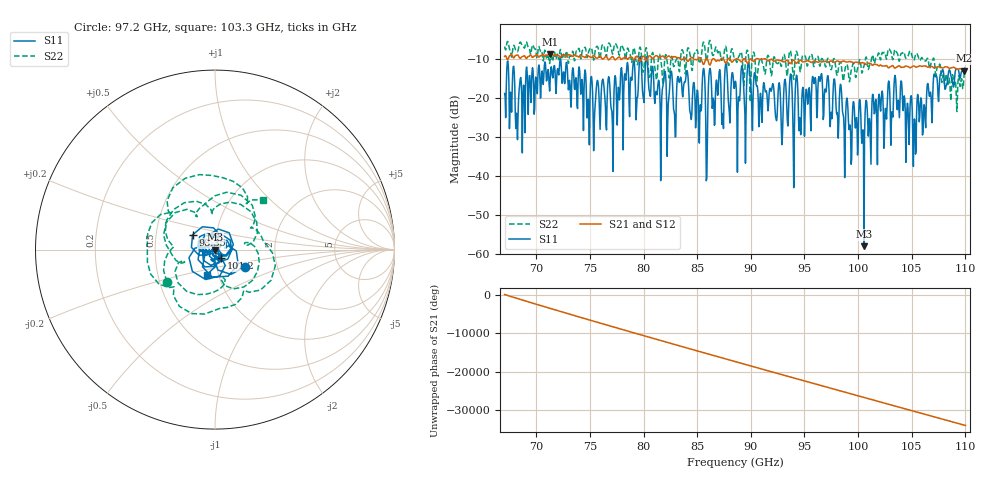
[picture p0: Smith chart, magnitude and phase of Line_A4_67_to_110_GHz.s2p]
#  HZ  S  MA  R  50.00
! Rohde & Schwarz ZVA67 4Ports - Version 4.11 - 1305.7002k04 SN: 101051
! Date: 2023-09-13 17:04:01
! Measurements: S11 S21 S12 S22
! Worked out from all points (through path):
!   860 points, 67.05 GHz to 110 GHz, reference 50 ohm
!   highest |S21| = -8.75 dB at 71.25 GHz (marker M1); lowest = -13.0 dB at 109.9 GHz (marker M2)
!   lowest |S11| = -58.0 dB at 100.5 GHz (marker M3), VSWR 1.00, Z = 49.9 + j0.0234 ohm
!   |S11| at or under -10 dB: start of sweep to 72.24 GHz; 72.26 GHz to 79.64 GHz (7.386 GHz wide, 9.72 % of centre); 80.32 GHz to end of sweep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
!   |S22| runs from -23.5 to -5.2 dB; largest |S21 - S12| = 0.048
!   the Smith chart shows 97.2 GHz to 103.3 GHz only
!   S11 on the Smith chart (normalised r, x): 97.2 GHz: 1.37, -0.27; 98.35 GHz: 0.77, +0.13; 101.2 GHz: 1.06, -0.10; 103.3 GHz: 0.88, -0.25
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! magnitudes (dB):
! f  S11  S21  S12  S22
! 67.05 GHz  -18.8  -9.3  -9.3  -6.8
! 68.2 GHz  -25.6  -9.0  -9.0  -7.9
! 71.25 GHz  -18.2  -8.7  -8.7  -11.1
! 74.25 GHz  -15.2  -9.2  -9.2  -8.4
! 77.05 GHz  -23.4  -9.4  -9.4  -8.2
! 78.4 GHz  -13.6  -9.7  -9.7  -9.0
! 80.3 GHz  -9.5  -10.4  -10.4  -7.5
! 81.4 GHz  -15.4  -9.5  -9.5  -9.5
! 88.55 GHz  -15.7  -10.1  -10.1  -10.0
! 89.8 GHz  -11.2  -10.8  -10.7  -9.8
! 90.9 GHz  -18.8  -10.1  -10.1  -9.8
! 95.7 GHz  -15.9  -10.9  -10.9  -9.0
! 97.2 GHz  -14.3  -10.8  -10.8  -9.8
! 98.35 GHz  -16.5  -10.8  -10.8  -10.7
! 100.5 GHz  -58.0  -11.0  -11.0  -11.8
! 101.2 GHz  -24.9  -11.4  -11.4  -9.9
! 102.8 GHz  -15.6  -12.3  -12.3  -7.3
! 103.3 GHz  -16.6  -12.2  -12.1  -8.3
! 105.2 GHz  -25.4  -11.8  -11.8  -10.0
! 107.2 GHz  -14.6  -12.1  -12.1  -13.5
! 109.9 GHz  -12.3  -13.0  -12.9  -13.4
! 110 GHz  -13.2  -12.9  -12.8  -13.8
